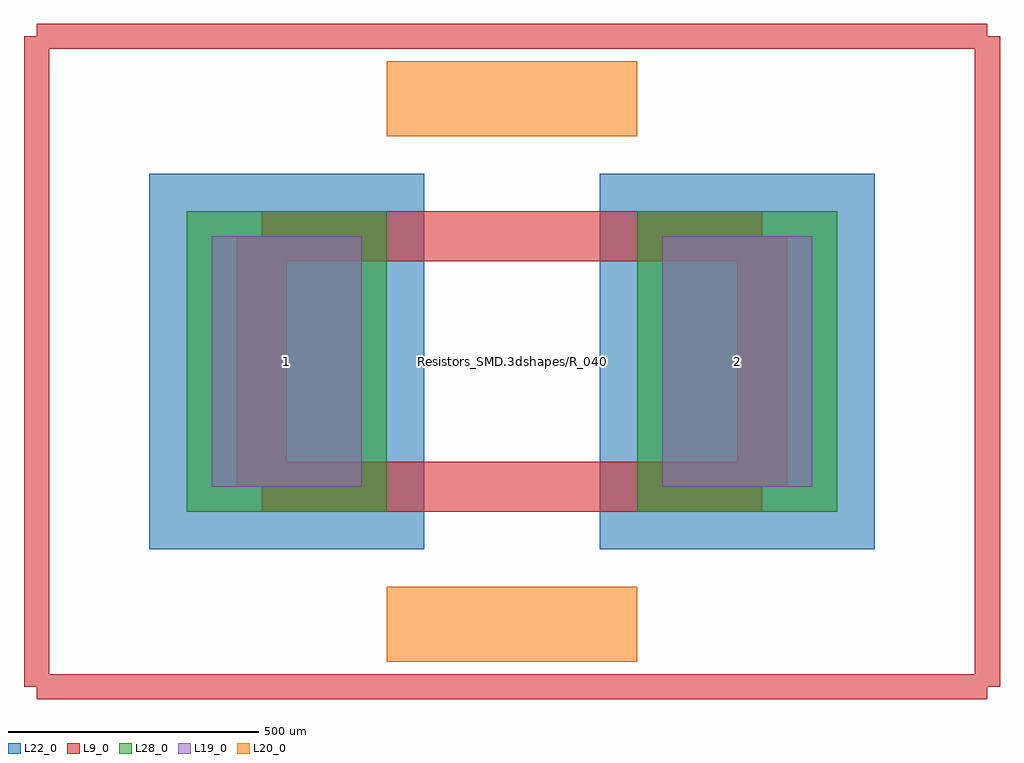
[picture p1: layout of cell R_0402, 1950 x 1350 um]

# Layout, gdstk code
import gdstk
lib = gdstk.Library(unit=1e-6, precision=1e-09)
def R(c, l, rs):  # rectangles x0, y0, x1, y1
    for r in rs: c.add(gdstk.rectangle(r[:2], r[2:], *l))
L9_0 = (9, 0)
L19_0 = (19, 0)
L20_0 = (20, 0)
L22_0 = (22, 0)
L28_0 = (28, 0)

r_0402 = lib.new_cell('R_0402')
R(r_0402, L19_0, [(-600,-250,-300,250), (300,-250,600,250)])
R(r_0402, L22_0, [(-725,-375,-175,375), (175,-375,725,375)])
R(r_0402, L28_0, [(-650,-300,-250,300), (250,-300,650,300)])
r_0402.add(gdstk.FlexPath([(-250,-525),(250,-525)], 149.998, ends="flush", simple_path=True, layer=20, datatype=0))  # L20_0
r_0402.add(gdstk.FlexPath([(250,525),(-250,525)], 149.998, ends="flush", simple_path=True, layer=20, datatype=0))  # L20_0
r_0402.add(gdstk.FlexPath([(950,650),(950,-650)], 50, ends="flush", simple_path=True, layer=9, datatype=0))  # L9_0
r_0402.add(gdstk.FlexPath([(-950,650),(-950,-650)], 50, ends="flush", simple_path=True, layer=9, datatype=0))  # L9_0
r_0402.add(gdstk.FlexPath([(-950,-650),(950,-650)], 50, ends="flush", simple_path=True, layer=9, datatype=0))  # L9_0
r_0402.add(gdstk.FlexPath([(-950,650),(950,650)], 50, ends="flush", simple_path=True, layer=9, datatype=0))  # L9_0
r_0402.add(gdstk.FlexPath([(-500,250),(500,250)], 100, ends="flush", simple_path=True, layer=9, datatype=0))  # L9_0
r_0402.add(gdstk.FlexPath([(500,250),(500,-250)], 100, ends="flush", simple_path=True, layer=9, datatype=0))  # L9_0
r_0402.add(gdstk.FlexPath([(500,-250),(-500,-250)], 100, ends="flush", simple_path=True, layer=9, datatype=0))  # L9_0
r_0402.add(gdstk.FlexPath([(-500,-250),(-500,250)], 100, ends="flush", simple_path=True, layer=9, datatype=0))  # L9_0
r_0402.add(gdstk.Label('Resistors_SMD.3dshapes/R_0402.wrl', (0,0), layer=12, texttype=0))
r_0402.add(gdstk.Label('2', (450,0), layer=28, texttype=0))
r_0402.add(gdstk.Label('1', (-450,0), layer=28, texttype=0))
r_0402.add(gdstk.Label('type', (0,-1800), layer=9, texttype=0))
r_0402.add(gdstk.Label('devicename', (0,1800), layer=9, texttype=0))

lib.write_gds('R_0402.gds')
